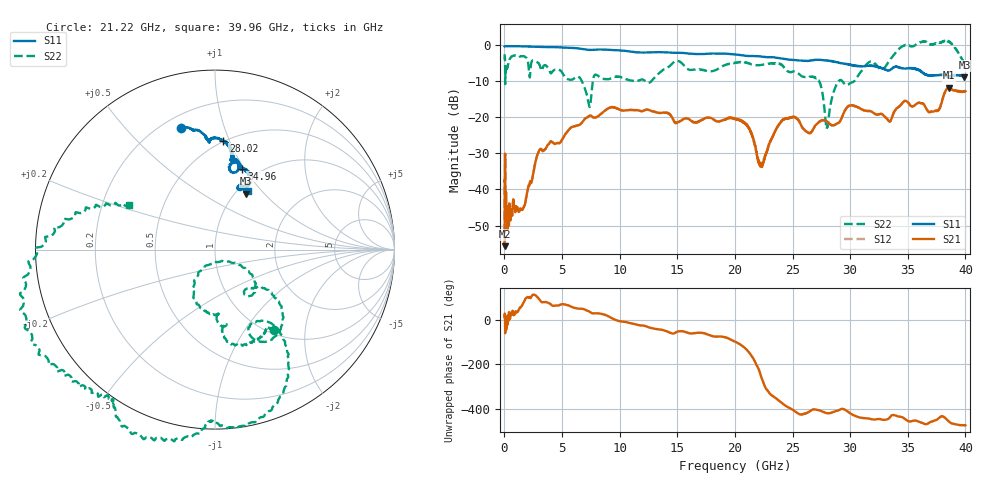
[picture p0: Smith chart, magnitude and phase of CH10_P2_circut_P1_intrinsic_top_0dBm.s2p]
!Keysight Technologies,N5222B,MY61257109,A.17.25.03
!Date: Tuesday, July 21, 2026 11:50:04
!Correction: S11(C  2-Port  )
!S21(C  2-Port  )
!S12(C  2-Port  )
!S22(C  2-Port  )
!S2P File: Measurements: S11, S21, S12, S22:
# Hz S  dB  R 50
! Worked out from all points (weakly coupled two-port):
!   4000 points, 10 MHz to 40 GHz, reference 50 ohm
!   highest |S21| = -11.87 dB at 38.6 GHz (marker M1); lowest = -55.7 dB at 10 MHz (marker M2)
!   lowest |S11| = -9.0 dB at 39.92 GHz (marker M3), VSWR 2.11, Z = 55.7 + j39.9 ohm
!   |S11| at or under -10 dB: nowhere
!   |S22| runs from -23.2 to 1.2 dB; largest |S21 - S12| = 0.0042
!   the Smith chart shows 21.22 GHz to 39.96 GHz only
!   S11 on the Smith chart (normalised r, x): 21.22 GHz: 0.27, +0.72; 28.02 GHz: 0.49, +0.95; 34.96 GHz: 0.83, +0.97; 39.96 GHz: 1.12, +0.84
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1e7  -0.41 -179.6  -55.68 13.9  -55.40 21.5  -2.58 -47.8
6e8  -0.36 177.3  -46.67 35.1  -46.71 34.9  -3.25 167.5
1.7e9  -0.40 172.4  -44.76 83.8  -44.71 84.0  -3.13 101.7
3.01e9  -0.54 166.7  -29.19 95.2  -29.21 95.1  -5.32 56.7
6.68e9  -1.09 150.9  -21.64 52.0  -21.64 52.0  -9.84 0.7
7.34e9  -1.38 149.6  -19.67 39.4  -19.69 39.3  -16.82 15.8
7.93e9  -1.32 148.8  -20.07 31.2  -20.06 31.1  -8.24 28.2
1.334e10  -2.01 132.0  -18.79 -41.3  -18.80 -41.0  -8.01 12.7
2.001e10  -2.67 109.0  -20.50 -97.4  -20.55 -97.4  -4.99 -38.7
2.122e10  -3.07 105.5  -23.23 -145.3  -22.91 -146.0  -5.07 -53.8
2.225e10  -3.22 101.7  -33.68 108.9  -32.79 108.7  -5.56 -57.1
2.421e10  -3.83 95.3  -20.57 -19.9  -20.71 -20.2  -6.08 -83.6
2.667e10  -4.24 92.7  -23.91 -45.8  -24.03 -45.9  -8.74 -90.1
2.802e10  -4.33 85.6  -21.28 -60.6  -21.28 -60.7  -22.75 -64.3
2.902e10  -4.93 81.0  -21.52 -46.2  -21.50 -46.5  -10.05 -44.6
3.334e10  -7.09 77.3  -21.02 -84.6  -20.98 -84.7  -4.66 -51.8
3.496e10  -6.46 71.8  -15.72 -94.5  -15.71 -94.1  -0.06 -85.1
3.641e10  -7.89 62.5  -16.56 -108.6  -16.53 -108.6  0.93 -112.1
3.86e10  -8.90 68.5  -11.87 -99.6  -11.79 -99.0  0.94 -166.9
3.992e10  -8.96 61.2  -12.83 -114.5  -12.83 -114.5  -5.22 153.8
3.996e10  -8.59 60.6  -12.94 -115.2  -12.92 -115.2  -5.38 152.5
4e10  -8.94 62.5  -12.82 -115.6  -12.71 -115.9  -5.47 151.9
